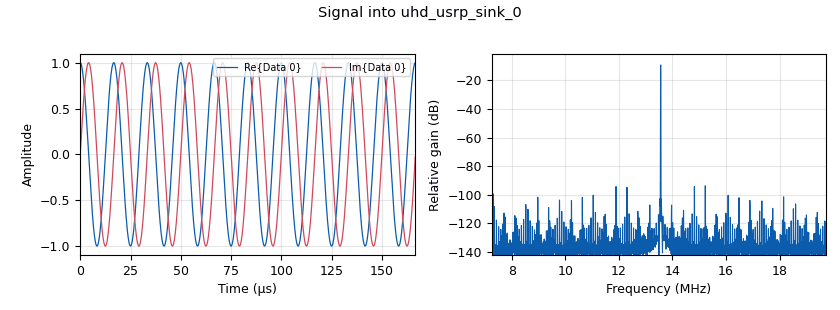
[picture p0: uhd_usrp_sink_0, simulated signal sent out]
options:
  parameters:
    generate_options: qt_gui
    id: CollectData
    output_language: python
    title: Not titled yet
  states: {}

blocks:
- name: card
  id: variable
  parameters:
    value: '16'
  states: {}
- name: center_frequency
  id: variable
  parameters:
    value: 13.5e6
  states: {}
- name: rx_fs
  id: variable
  parameters:
    value: 2e6
  states: {}
- name: tx_fs
  id: variable
  parameters:
    value: 12.5e6
  states: {}
- name: blocks_file_sink_0
  id: blocks_file_sink
  parameters:
    file: /home/cse/Downloads/RX_data.dat
    type: complex
  states: {state: disabled}
- name: epy_block_0
  id: epy_block
  parameters:
    _source_code: |-
      """
      Embedded Python Blocks:

      Each time this file is saved, GRC will instantiate the first class it finds
      to get ports and parameters of your block. The arguments to __init__  will
      be the parameters. All of them are required to have default values!
      """

      import numpy as np
      from gnuradio import gr
      import pmt
      import logging

      logger = logging.getLogger('grc')
      logging.basicConfig(level=logging.DEBUG)

      class blk(gr.basic_block):  # other base classes are basic_block, decim_block, interp_block
          """Embedded Python Block example - a simple multiply const"""

          def __init__(
              self,
              tx_fs=12.5e6,
              ask_percent=1.0,
              flagBits='00100100',
              commandCode=0b00000001,
              maskLength=0b00000000
          ):  # only default arguments here
              """arguments to this function show up as parameters in GRC"""
              gr.sync_block.__init__(
                  self,
                  name='Generate Command Data',   # will show up in GRC
                  in_sig=[],
                  out_sig=[np.complex64]
              )
              self.tx_fs = tx_fs
              self.ask_percent = ask_percent
              self.flagBits = str(flagBits)
              self.commandCode = commandCode
              self.maskLength = maskLength
              self.data_generated = False  # Add this attribute to track if data is generated
              self.command_data = None
              self.command_data_len = 0
              self.current_index = 0
              self.message_port_register_out(pmt.intern("tx_len"))

          def work(self, input_items, output_items):
              
              ## Generate Data
              if not self.data_generated:
                  logger.debug("Flagbits: " + self.flagBits)
                  flagBits = int(self.flagBits, 2)
                  self.command_data = generateCommandData(
                      self.tx_fs,
                      self.ask_percent,
                      flagBits,
                      self.commandCode,
                      self.maskLength
                  )
                  self.command_data_len = len(self.command_data)
                  self.message_port_pub(
                      pmt.intern("tx_len"),
                      pmt.from_long(self.command_data_len)
                  )
                  self.data_generated = True
                  logger.debug("DATA GENERATED")
              
              num_output_items = len(output_items[0])
              end_index = self.current_index + num_output_items
              
              ## Output data
              try:
                  if end_index <= self.command_data_len:
                      output_items[0][:] = self.command_data[
                          self.current_index:end_index
                      ]
                      self.current_index = end_index
                  else:
                      remaining_items = self.command_data_len - self.current_index
                      output_items[0][:remaining_items] = self.command_data[
                          self.current_index:self.command_data_len
                      ]
                      output_items[0][remaining_items:] = self.command_data[
                          :num_output_items - remaining_items
                      ]
                      self.current_index = num_output_items - remaining_items
              except:
                  self.data_generated = False
                  self.command_data_len = 0
                  self.current_index = 0
                  remaining_items = 0
                  output_items[0][:] = 0
                  return 0

              return len(output_items[0])


      def generateCommandData(tx_fs, ask_percent, flagBits, commandCode, maskLength):

          rf_reset_length = round((8160e-6)/(1/tx_fs))
          data_bytes = [flagBits, commandCode, maskLength]
          CRC = calculateCRC(data_bytes)

          ## Rearrange Bits for Transmission
          flagBits = bin(flagBits)[2:].zfill(8)
          commandCode = bin(commandCode)[2:].zfill(8)
          maskLength = bin(maskLength)[2:].zfill(8)

          rearranged_flagBits = ''
          for i in range(len(flagBits) - 1, 0, -2):
              bitpair = flagBits[i-1:i+1]
              rearranged_flagBits = rearranged_flagBits + bitpair

          rearranged_commandCode = ''
          for i in range(len(commandCode) - 1, 0, -2):
              bitpair = commandCode[i-1:i+1]
              rearranged_commandCode = rearranged_commandCode + bitpair

          rearranged_maskLength = ''
          for i in range(len(maskLength) - 1, 0, -2):
              bitpair = maskLength[i-1:i+1]
              rearranged_maskLength = rearranged_maskLength + bitpair

          rearranged_CRC = ''
          for i in range(len(CRC) - 1, 0, -2):
              bitpair = CRC[i-1:i+1]
              rearranged_CRC = rearranged_CRC + bitpair

          # logger.debug(rearranged_flagBits)
          # logger.debug(rearranged_commandCode)
          # logger.debug(rearranged_maskLength)
          # logger.debug(rearranged_CRC)
          # rearranged_flagBits = '10011000'
          # rearranged_commandCode = '01000000'
          # rearranged_maskLength = '00000000'
          # rearranged_CRC = '1001111110100000'

          command = (
              rearranged_flagBits
              + rearranged_commandCode
              + rearranged_maskLength
              + rearranged_CRC
          )

          command_data = modulateCommand(command, tx_fs, ask_percent)
          command_data = modulateSOF_EOF(command_data, tx_fs, ask_percent)
          command_data = modulateSlotData(
              command_data,
              tx_fs,
              ask_percent,
              flagBits
          )
          
          command_data = np.append(
              command_data,
              np.zeros(rf_reset_length,)
          )  # Add RF Reset after command
          
          command_data = addSineWave(command_data, tx_fs, 60000)

          return command_data


      def calculateCRC(data_bytes):
          # Constants
          POLYNOMIAL = 0x8408  # x^16 + x^12 + x^5 + 1
          PRESET_VALUE = 0xFFFF
          NUMBER_OF_BYTES = len(data_bytes)
          
          current_crc_value = PRESET_VALUE
          
          for i in range(NUMBER_OF_BYTES):
              current_crc_value = current_crc_value ^ data_bytes[i]

              for j in range(8):
                  if current_crc_value & 0x0001:
                      current_crc_value = (
                          current_crc_value >> 1
                      ) ^ POLYNOMIAL
                  else:
                      current_crc_value = current_crc_value >> 1

          inverted_crc_value = ~current_crc_value
          unsigned_integer = inverted_crc_value + (1 << 16)
          CRC = bin(unsigned_integer)[2:].zfill(16)

          return CRC
              

      def modulateCommand(command, tx_fs, ask_percent):
          
          pair_samples = round((75.52e-6)/(1/tx_fs))
          low_percent = 1 - ask_percent
          low_samples = round((9.44e-06)/(1/tx_fs))
          low_data = np.ones(low_samples) * low_percent
          
          data = []

          for i in range(0, len(command), 2):
              pair = command[i:i+2]
              pair_data = np.ones(pair_samples)

              match pair:
                  case "00":
                      high_samples = round((9.44e-06)/(1/tx_fs))
                      pair_data[
                          high_samples:high_samples+low_samples
                      ] = low_data

                  case "01":
                      high_samples = round((28.32e-06)/(1/tx_fs))
                      pair_data[
                          high_samples:high_samples+low_samples
                      ] = low_data

                  case "10":
                      high_samples = round((47.2e-06)/(1/tx_fs))
                      pair_data[
                          high_samples:high_samples+low_samples
                      ] = low_data

                  case "11":
                      high_samples = round((66.08e-06)/(1/tx_fs))
                      pair_data[
                          high_samples:high_samples+low_samples
                      ] = low_data

              data = np.append(data, pair_data)

          return data


      def modulateSOF_EOF(data, tx_fs, ask_percent):
          SOF_length = round((75.52e-06)/(1/tx_fs))
          EOF_length = round(SOF_length/2)
          
          low_percent = 1-ask_percent
          low_samples = round((9.44e-06)/(1/tx_fs))
          low_data = np.ones(low_samples) * low_percent

          SOF = np.ones(SOF_length)
          SOF[:low_samples] = low_data

          high_samples = round((47.2e-06)/(1/tx_fs))
          SOF[
              high_samples:high_samples+low_samples
          ] = low_data

          EOF = np.ones(EOF_length)

          high_samples = round((18.88e-06)/(1/tx_fs))
          EOF[
              high_samples:high_samples + low_samples
          ] = low_data

          data = np.append(SOF, data)
          data = np.append(data, EOF)

          return data


      def modulateSlotData(data, tx_fs, ask_percent, flagBits):
          slot_flag = flagBits[2]
          rate_flag = flagBits[6]
          inv_flag = flagBits[5]
          
          low_percent = 1-ask_percent
          low_samples = round((9.44e-06)/(1/tx_fs))
          low_data = np.ones(low_samples) * low_percent

          EOF_length = round((37.76e-06)/(1/tx_fs))
          EOF = np.ones(EOF_length)

          high_samples = round((18.88e-06)/(1/tx_fs))
          EOF[
              high_samples:high_samples + low_samples
          ] = low_data

          if rate_flag == '1':
              slot_length = round(8160e-06/(1/tx_fs))
          else:
              slot_length = round(20332e-06/(1/tx_fs))

          slot = np.ones(slot_length)
          data = np.append(slot, data)

          if slot_flag == '0' and inv_flag == '1':
              slot = np.append(slot, EOF)

              for i in range(16):
                  data = np.append(data, slot)
          else:
              data = np.append(
                  data,
                  np.ones(slot_length)
              )

          return data


      def addSineWave(data, tx_fs, sinewave_fs):
          data_length = len(data)
          duration = data_length / tx_fs

          t = np.linspace(
              0,
              duration,
              data_length,
              endpoint=False,
              dtype=np.complex64
          )  # Time array

          # Generate the complex sine wave
          sine_wave = np.exp(
              2j * np.pi * sinewave_fs * t
          ).astype(np.complex64)

          data = sine_wave * data

          return data
    ask_percent: '1.0'
    commandCode: '0b00000001'
    flagBits: '''00100100'''
    maskLength: '0b00000000'
    tx_fs: tx_fs
  states: {}
- name: epy_block_1
  id: epy_block
  parameters:
    _source_code: |-
      """
      Embedded Python Blocks:

      Each time this file is saved, GRC will instantiate the first class it finds
      to get ports and parameters of your block. The arguments to __init__ will
      be the parameters. All of them are required to have default values!
      """

      import numpy as np
      from gnuradio import gr
      import pmt
      import logging
      import os
      from pathlib import Path
      from scipy.stats.stats import pearsonr

      logger = logging.getLogger('grc')
      logging.basicConfig(level=logging.DEBUG)


      class SaveNumpyArrayBlock(gr.sync_block):

          def __init__(
              self,
              rx_fs=2e6,
              tx_fs=12.5e6,
              flagBits='00100100',
              signals_requested=200,
              card=1,
              button=0
          ):
              gr.sync_block.__init__(
                  self,
                  name='Save Card Button Signals',
                  in_sig=[np.complex64],
                  out_sig=[]
              )

              ## Make variables persistent with each loop
              self.data = []
              self.rx_fs = rx_fs
              self.tx_fs = tx_fs
              self.flagBits = str(flagBits)
              self.signals_found = 0
              self.signals_requested = signals_requested

              # Disable the pause at 50 responses
              self.responses_per_placement = self.signals_requested

              # Pause collection after each group
              self.collection_paused = False

              self.tx_len = 0
              self.card = int(card)
              self.button = int(button)

              if self.card < 1 or self.card > 40:
                  raise ValueError(
                      "card must be between 1 and 40"
                  )

              if self.button < 0 or self.button > 11:
                  raise ValueError(
                      "button must be between 0 and 11"
                  )

              if len(self.flagBits) != 8:
                  raise ValueError(
                      "flagBits must contain exactly 8 bits"
                  )

              if any(bit not in ('0', '1') for bit in self.flagBits):
                  raise ValueError(
                      "flagBits must contain only 0 and 1"
                  )

              self.message_port_register_in(
                  pmt.intern("tx_len")
              )

              self.set_msg_handler(
                  pmt.intern("tx_len"),
                  self.handle_msg
              )

              logger.debug(
                  "Configured collection: Card "
                  + str(self.card)
                  + ", Button "
                  + str(self.button)
                  + ", FlagBits "
                  + self.flagBits
              )


          # Get tx_len from generate command data block
          def handle_msg(self, msg):
              self.tx_len = pmt.to_long(msg)


          def work(self, input_items, output_items):

              # Pause after each group of responses.
              # Reposition the induced coil, stop the flowgraph,
              # and restart it to continue collection.
              if self.collection_paused:
                  return 0

              # Use manually selected flagBits from GRC
              flagBits = self.flagBits

              # Change variables based on data-rate and subcarrier combination
              match flagBits[6:8]:

                  case '00':
                      data_directory = Path(
                          '/home/cse/pinpad/myenv/GNURadio_1/'
                          'Correlation_Responses/'
                          'OneSubcarrierLowDataRate'
                      )

                      SOF_time = (151.04e-06) * 4
                      bit_time = (37.76e-06) * 4

                  case '01':
                      data_directory = Path(
                          '/home/cse/pinpad/myenv/GNURadio_1/'
                          'Correlation_Responses/'
                          'TwoSubcarriersLowDataRate'
                      )

                      SOF_time = (149.85e-06) * 4
                      bit_time = (37.46e-06) * 4

                  case '10':
                      data_directory = Path(
                          '/home/cse/pinpad/myenv/GNURadio_1/'
                          'Correlation_Responses/'
                          'OneSubcarrierHighDataRate'
                      )

                      SOF_time = 151.04e-06
                      bit_time = 37.76e-06

                  case '11':
                      data_directory = Path(
                          '/home/cse/pinpad/myenv/GNURadio_1/'
                          'Correlation_Responses/'
                          'TwoSubcarriersHighDataRate'
                      )

                      SOF_time = 149.85e-06
                      bit_time = 37.46e-06

              # Create a separate folder for each card
              card_directory = (
                  data_directory
                  / ('card' + str(self.card))
              )

              os.makedirs(
                  card_directory,
                  exist_ok=True
              )

              # Save one file for each button position
              button_name = (
                  'button'
                  + str(self.button)
                  + '.npy'
              )

              self.card_sig_path = (
                  card_directory
                  / button_name
              )

              # Correlation signal remains inside the mode directory
              self.corr_sig_path = (
                  data_directory
                  / 'corr_signal.npy'
              )

              SOF_length = round(
                  SOF_time / (1 / self.rx_fs)
              )

              bit_length = round(
                  bit_time / (1 / self.rx_fs)
              )

              response_bits = 8

              response_length = (
                  SOF_length
                  + bit_length * response_bits
              )

              # Create the button response file if it does not exist
              if not self.card_sig_path.is_file():
                  np.save(
                      self.card_sig_path,
                      np.zeros(
                          (0, response_length),
                          dtype=np.complex64
                      )
                  )

              # Load the known response used for correlation filtering
              self.corr_signal = np.load(
                  self.corr_sig_path,
                  allow_pickle=True
              )

              # Process after collecting the required buffer size
              if len(self.data) >= 2000000:

                  prev_cards = np.load(
                      self.card_sig_path,
                      allow_pickle=True
                  )

                  self.signals_found = (
                      prev_cards.shape[0]
                  )

                  buffer = np.array(
                      self.data,
                      dtype=np.complex64
                  )

                  try:
                      card_signals = findCardSignals(
                          buffer,
                          self.rx_fs,
                          self.tx_fs,
                          flagBits,
                          self.tx_len
                      )

                      card_signals = normalize_data(
                          self,
                          card_signals
                      )

                  except Exception as error:
                      logger.debug(
                          "Signal extraction error: "
                          + str(error)
                      )

                      self.data = []
                      return 0

                  ## Remove signals that are not similar to the correlation signal
                  row_to_remove = []

                  for i in range(
                      card_signals.shape[0]
                  ):

                      diff = pearsonr(
                          np.abs(self.corr_signal),
                          np.abs(card_signals[i])
                      )[0]

                      if diff < 0.8:
                          row_to_remove.append(i)

                  card_signals = np.delete(
                      card_signals,
                      row_to_remove,
                      axis=0
                  )

                  ## Determine total number of responses still required
                  signals_remaining = (
                      self.signals_requested
                      - self.signals_found
                  )

                  ## Determine progress within the current response batch
                  responses_in_current_batch = (
                      self.signals_found
                      % self.responses_per_placement
                  )

                  ## Determine how many more responses can be collected
                  ## before pausing
                  responses_until_pause = (
                      self.responses_per_placement
                      - responses_in_current_batch
                  )

                  ## Limit collection by:
                  ## 1. Total responses remaining
                  ## 2. Responses remaining in the current batch
                  ## 3. Number of valid responses currently detected
                  signals_remaining = min(
                      signals_remaining,
                      responses_until_pause,
                      card_signals.shape[0]
                  )

                  ## Add and save newly found responses
                  card_signals = np.vstack(
                      (
                          prev_cards,
                          card_signals[
                              :signals_remaining
                          ]
                      )
                  )

                  self.signals_found = (
                      card_signals.shape[0]
                  )

                  logger.debug(
                      "Card "
                      + str(self.card)
                      + ", Button "
                      + str(self.button)
                      + ", Signals Found: "
                      + str(self.signals_found)
                      + "/"
                      + str(self.signals_requested)
                  )

                  np.save(
                      self.card_sig_path,
                      card_signals
                  )

                  ## Pause after collecting each group
                  if (
                      self.signals_found > 0
                      and self.signals_found
                      < self.signals_requested
                      and self.signals_found
                      % self.responses_per_placement == 0
                  ):

                      logger.debug(
                          "=================================================="
                      )

                      logger.debug(
                          "PAUSED: Card "
                          + str(self.card)
                          + ", Button "
                          + str(self.button)
                          + " has collected "
                          + str(self.signals_found)
                          + "/"
                          + str(self.signals_requested)
                          + " responses."
                      )

                      logger.debug(
                          "Reposition the induced button coil."
                      )

                      logger.debug(
                          "Then stop and restart the flowgraph "
                          "to continue collecting responses."
                      )

                      logger.debug(
                          "Current data file: "
                          + str(self.card_sig_path)
                      )

                      logger.debug(
                          "=================================================="
                      )

                      self.collection_paused = True
                      self.data = []

                      return 0

                  ## Check whether collection is complete
                  if (
                      self.signals_found
                      >= self.signals_requested
                  ):

                      card_signals = normalize_data(
                          self,
                          card_signals
                      )

                      np.save(
                          self.card_sig_path,
                          card_signals
                      )

                      logger.debug(
                          "------- CARD "
                          + str(self.card)
                          + ", BUTTON "
                          + str(self.button)
                          + ", FLAGBITS "
                          + str(self.flagBits)
                          + " COMPLETED -------"
                      )

                      logger.debug(
                          "Total responses saved: "
                          + str(self.signals_found)
                      )

                      logger.debug(
                          "Saved file: "
                          + str(self.card_sig_path)
                      )

                      self.data = []

                  else:
                      self.data = []

                  return 0

              ## Collect incoming samples
              elif len(self.data) <= 2000000:

                  self.data.extend(
                      input_items[0]
                  )

                  return len(
                      input_items[0]
                  )

              return 0


      def findCardSignals(
          data,
          rx_fs,
          tx_fs,
          flagBits,
          tx_len
      ):
          abs_data = np.abs(data)

          ## Get the correct timings of received data
          rate_flag = flagBits[6]

          if rate_flag == '1':
              slot_length = round(
                  8160e-06 / (1 / rx_fs)
              )
          else:
              slot_length = round(
                  20332e-06 / (1 / rx_fs)
              )

          rf_reset_length = round(
              8160e-06 / (1 / rx_fs)
          )

          command_time = (
              tx_len / tx_fs
          )

          command_length = round(
              command_time / (1 / rx_fs)
              + 2.5e-04 / (1 / rx_fs)
          )

          N = 50
          rho = 15

          match flagBits[6:8]:

              case '00':
                  SOF_time = (
                      151.04e-06
                  ) * 4

                  SOF_low_time = (
                      56.64e-06
                  ) * 4

                  bit_time = (
                      37.76e-06
                  ) * 4

              case '01':
                  SOF_time = (
                      149.85e-06
                  ) * 4

                  SOF_low_time = 0

                  bit_time = (
                      37.46e-06
                  ) * 4

              case '10':
                  SOF_time = 151.04e-06
                  SOF_low_time = 56.64e-06
                  bit_time = 37.76e-06

              case '11':
                  SOF_time = 149.85e-06
                  SOF_low_time = 0
                  bit_time = 37.46e-06

          SOF_length = round(
              SOF_time / (1 / rx_fs)
          )

          SOF_low_length = round(
              SOF_low_time / (1 / rx_fs)
          )

          bit_length = round(
              bit_time / (1 / rx_fs)
          )

          response_bits = 8

          response_length = (
              SOF_length
              + bit_length * response_bits
          )

          tx_start = 0

          card_signals = (
              [None] * response_length
          )

          ## Find when the received signal is low
          start = findRFreset(data)
          data = data[start:]

          ## Loop through the buffer to find card responses
          while (
              tx_start
              + 2 * command_length
              < len(abs_data)
          ):

              abs_data = np.abs(data)

              # Find the start of command transmission
              for i in range(
                  0,
                  len(abs_data),
                  100
              ):
                  window_size = 100

                  if (
                      i + window_size
                      > len(abs_data) - 1
                  ):
                      window_size = (
                          len(abs_data)
                          - i
                          - 1
                      )

                  delta = np.abs(
                      abs_data[
                          i + window_size
                      ]
                      - abs_data[i]
                  )

                  if delta > 0.1:
                      tx_start = i
                      break

                  tx_start = None

              if tx_start is None:
                  return card_signals[1:]

              offset = (
                  tx_start
                  + command_length
                  - slot_length
                  - rf_reset_length
              )

              # Find the start of the card response
              response_start = findResponseStart(
                  data[offset:],
                  N,
                  rho
              )

              offset = (
                  offset
                  + response_start
                  - SOF_low_length
              )

              # Extract the card response
              card_signal = data[
                  offset:
                  offset + response_length
              ]

              card_signals = np.vstack(
                  (
                      card_signals,
                      card_signal
                  )
              )

              # Find the next transmission interval
              data = data[
                  tx_start
                  + command_length
                  - rf_reset_length:
              ]

              start = findRFreset(data)
              data = data[start:]

          return card_signals[1:]


      def findResponseStart(
          data,
          N,
          rho
      ):
          data = np.abs(data)
          delta = np.abs(np.diff(data))

          midPoint = int(
              np.floor(N / 2) + 1
          )

          deltaSegment = delta[
              midPoint:N
          ]

          sigma = (
              rho
              * np.mean(deltaSegment)
          )

          start = np.where(
              delta > sigma
          )[0][0]

          return start


      def findRFreset(data):

          window_size = 1000

          for i in range(
              0,
              len(data),
              window_size
          ):
              avg = np.mean(
                  abs(
                      data[
                          i:
                          i + window_size
                      ]
                  )
              )

              if avg <= 0.001:
                  return i


      ## Uses a sliding window and mean to determine similarity
      def differences(
          arr1,
          arr2
      ):
          windows_size = 10
          diffs = []

          for i in range(
              0,
              len(arr1) - windows_size,
              windows_size
          ):
              arr1_mean = np.mean(
                  np.abs(
                      arr1[
                          i:
                          i + windows_size
                      ]
                  )
              )

              arr2_mean = np.mean(
                  np.abs(
                      arr2[
                          i:
                          i + windows_size
                      ]
                  )
              )

              diff = np.abs(
                  arr1_mean
                  - arr2_mean
              )

              diffs = np.append(
                  diffs,
                  diff
              )

          return np.mean(diffs)


      ## Make each input response have the same mean as the correlation signal
      def normalize_data(
          self,
          data
      ):
          data = np.asarray(
              data,
              np.complex_
          )

          overall_mean_magnitude = np.mean(
              np.abs(self.corr_signal)
          )

          row_means = np.mean(
              np.abs(data),
              axis=1
          )

          normalized_data = np.empty_like(
              data,
              dtype=np.complex_
          )

          for i in range(
              data.shape[0]
          ):
              magnitudes = np.abs(
                  data[i]
              )

              phases = np.angle(
                  data[i]
              )

              scale_factor = (
                  overall_mean_magnitude
                  / row_means[i]
              )

              new_magnitudes = (
                  magnitudes
                  * scale_factor
              )

              normalized_data[i] = (
                  new_magnitudes
                  * np.exp(
                      1j * phases
                  )
              )

          return normalized_data
    button: '3'
    card: '16'
    flagBits: '''00100100'''
    rx_fs: rx_fs
    signals_requested: '200'
    tx_fs: tx_fs
  states: {}
- name: epy_block_1_0
  id: epy_block
  parameters:
    _source_code: |-
      """
      Digital SIC Embedded Python Block

      Input 0: y[n]      = main RX signal from RF combiner output
      Input 1: x_ref[n]  = reference RX signal from coupler/splitter path
      Output: y_clean[n] = y[n] - estimated self-interference
      """

      import numpy as np
      from gnuradio import gr
      import logging

      logger = logging.getLogger('grc')
      logging.basicConfig(level=logging.DEBUG)


      class blk(gr.sync_block):

          def __init__(
              self,
              enable_dsic=True,
              num_taps=16,
              mu=0.005,
              eps=1e-10,
              log_interval=100
          ):
              gr.sync_block.__init__(
                  self,
                  name='Digital SIC',
                  in_sig=[np.complex64, np.complex64],
                  out_sig=[np.complex64]
              )

              self.enable_dsic = bool(enable_dsic)
              self.num_taps = int(num_taps)
              self.mu = float(mu)
              self.eps = float(eps)
              self.log_interval = int(log_interval)

              self.w = np.zeros(
                  self.num_taps,
                  dtype=np.complex64
              )

              self.x_hist = np.zeros(
                  self.num_taps,
                  dtype=np.complex64
              )

              self.counter = 0

              logger.debug(
                  "Digital SIC initialized: "
                  + "enable_dsic="
                  + str(self.enable_dsic)
                  + ", num_taps="
                  + str(self.num_taps)
                  + ", mu="
                  + str(self.mu)
              )

          def work(self, input_items, output_items):

              y = input_items[0]
              x_ref = input_items[1]
              y_clean = output_items[0]

              N = min(
                  len(y),
                  len(x_ref),
                  len(y_clean)
              )

              if N <= 0:
                  return 0

              if not self.enable_dsic:
                  y_clean[:N] = y[:N]
                  return N

              p_before_acc = 0.0
              p_after_acc = 0.0

              for n in range(N):

                  self.x_hist[1:] = self.x_hist[:-1]
                  self.x_hist[0] = x_ref[n]

                  leakage_hat = np.vdot(
                      self.w,
                      self.x_hist
                  )

                  error = y[n] - leakage_hat

                  y_clean[n] = error

                  ref_power = (
                      np.vdot(
                          self.x_hist,
                          self.x_hist
                      ).real
                      + self.eps
                  )

                  self.w = self.w + (
                      self.mu
                      * self.x_hist
                      * np.conj(error)
                      / ref_power
                  )

                  p_before_acc += np.abs(y[n]) ** 2
                  p_after_acc += np.abs(error) ** 2

              self.counter += 1

              if self.counter % self.log_interval == 0:

                  p_before = (
                      p_before_acc / max(N, 1)
                      + self.eps
                  )

                  p_after = (
                      p_after_acc / max(N, 1)
                      + self.eps
                  )

                  sic_reduction_db = 10 * np.log10(
                      p_before / p_after
                  )

                  logger.debug(
                      "Digital SIC reduction: "
                      + str(round(sic_reduction_db, 2))
                      + " dB"
                  )

              return N
    enable_dsic: 'True'
    eps: '1e-10'
    log_interval: '100'
    mu: '0.005'
    num_taps: '16'
  states: {state: disabled}
- name: qtgui_sink_x_0
  id: qtgui_sink_x
  parameters:
    bw: rx_fs
    fc: center_frequency
    fftsize: '2048'
    rate: '10000'
    type: complex
  states: {}
- name: qtgui_time_sink_x_0
  id: qtgui_time_sink_x
  parameters:
    autoscale: 'True'
    size: '630596'
    srate: rx_fs
    type: complex
  states: {}
- name: uhd_usrp_sink_0
  id: uhd_usrp_sink
  parameters:
    ant0: '"TX/RX"'
    center_freq0: center_frequency
    dev_addr: '"addr=192.168.10.2"'
    gain0: '0'
    samp_rate: tx_fs
    sync: none
    type: fc32
  states: {}
- name: uhd_usrp_source_0
  id: uhd_usrp_source
  parameters:
    ant0: '"RX2"'
    center_freq0: 'center_frequency '
    dev_addr: '"addr=192.168.10.3"'
    gain0: '0'
    samp_rate: rx_fs
    sync: none
    type: fc32
  states: {}
- name: uhd_usrp_source_0_0
  id: uhd_usrp_source
  parameters:
    ant0: '"RX2"'
    center_freq0: 'center_frequency '
    dev_addr: '"addr=192.168.10.2"'
    gain0: '0'
    samp_rate: rx_fs
    sync: none
    type: fc32
  states: {state: disabled}
- name: uhd_usrp_source_0_0_0
  id: uhd_usrp_source
  parameters:
    ant0: '"RX2"'
    center_freq0: 'center_frequency '
    dev_addr: '"addr=192.168.10.3"'
    gain0: '0'
    samp_rate: rx_fs
    sync: none
    type: fc32
  states: {state: disabled}

connections:
- [epy_block_0, '0', uhd_usrp_sink_0, '0']
- [epy_block_0, tx_len, epy_block_1, tx_len]
- [epy_block_1_0, '0', epy_block_1, '0']
- [epy_block_1_0, '0', qtgui_sink_x_0, '0']
- [epy_block_1_0, '0', qtgui_time_sink_x_0, '0']
- [uhd_usrp_source_0, '0', blocks_file_sink_0, '0']
- [uhd_usrp_source_0, '0', epy_block_1, '0']
- [uhd_usrp_source_0, '0', qtgui_sink_x_0, '0']
- [uhd_usrp_source_0, '0', qtgui_time_sink_x_0, '0']
- [uhd_usrp_source_0_0, '0', epy_block_1_0, '0']
- [uhd_usrp_source_0_0_0, '0', epy_block_1, '0']
- [uhd_usrp_source_0_0_0, '0', epy_block_1_0, '1']
- [uhd_usrp_source_0_0_0, '0', qtgui_sink_x_0, '0']

metadata:
  file_format: 1
  grc_version: 3.10.9.2
